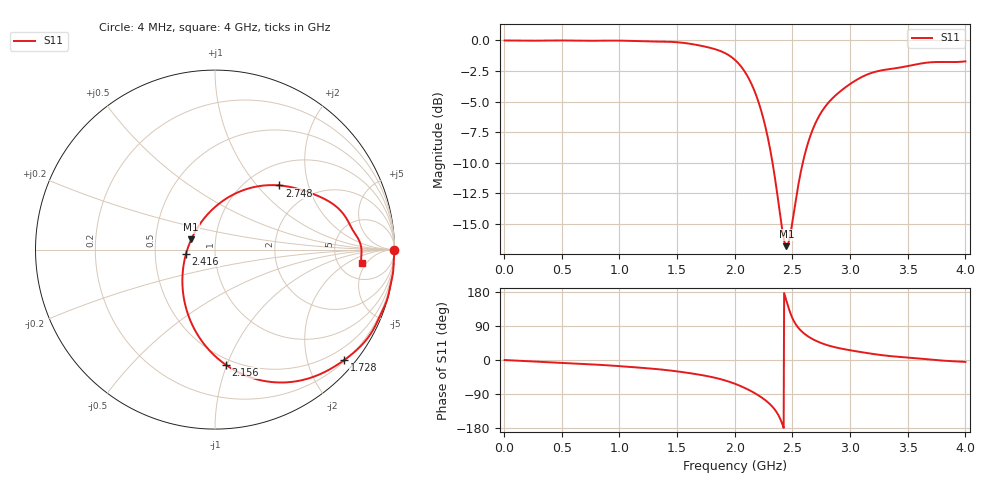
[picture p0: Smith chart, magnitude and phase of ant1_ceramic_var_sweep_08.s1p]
! TOUCHSTONE file generated by CST MICROWAVE STUDIO
! Date and time: Fri May  6 09:22:50 2022
! Project name: ant1_ceramic_sweep_10porcent.cst
! Parameters = {e=0.035; h=1.6; i=0.8; l1=0.505; l2=17; ls=80; wl=1.7; ws=30}
! Header version: 2018
! Port assignment regex: !\s*Touchstone port\s*([0-9]+)\s*=\s*(CST MWS port|CST DS port)\s*([0-9]+|Zmin|Zmax)\s*\(\"(.*)\"\)(\s*mode\s*([0-9]+))?.*
! Touchstone port assignment:
! Touchstone port 1 = CST MWS port 1 ("")
# GHz S DB R 50
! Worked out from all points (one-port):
!   1000 points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, 4 MHz to 4 GHz, reference 50 ohm
!   lowest |S11| = -16.8 dB at 2.448 GHz (marker M1), VSWR 1.34, Z = 38.1 + j4.47 ohm
!   |S11| at or under -10 dB: 2.327 GHz to 2.59 GHz (262.4 MHz wide, 10.7 % of centre)
!   S11 on the Smith chart (normalised r, x): 4 MHz: open; 1.728 GHz: 0.23, -2.69; 2.156 GHz: 0.45, -0.99; 2.416 GHz: 0.72, -0.03; 2.748 GHz: 1.38, +1.33; 4 GHz: 8.49, -3.76
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0.004  -0.00 -0.1
0.504  -0.00 -7.4
1.004  -0.01 -16.3
1.332  -0.09 -24.2
1.504  -0.15 -30.2
1.728  -0.47 -40.6
1.876  -0.87 -50.5
1.94  -1.16 -56.2
2.004  -1.61 -63.1
2.084  -2.51 -73.4
2.156  -3.79 -84.5
2.232  -5.84 -98.7
2.296  -8.38 -113.9
2.356  -11.73 -134.5
2.416  -15.77 -172.1
2.448  -16.82 156.5
2.472  -16.32 132.6
2.504  -14.57 107.8
2.56  -11.36 81.9
2.612  -9.15 67.4
2.676  -7.28 55.0
2.748  -5.91 44.9
2.856  -4.65 34.6
3.004  -3.54 25.5
3.216  -2.57 15.2
3.504  -2.09 6.4
3.7  -1.78 1.1
4  -1.71 -5.0
